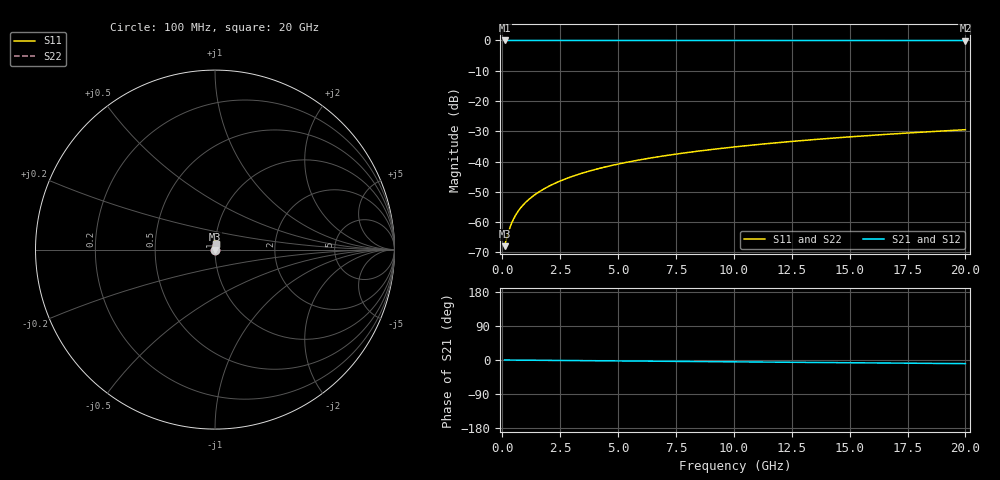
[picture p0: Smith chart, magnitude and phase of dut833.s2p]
! Touchstone file exported from HFSS 2026.1.0
!  File:  C:/ffzhzh/LocalFiles/Ansys_Project_Files/temp_train_TSV_833_1783184748_55132.aedt
!  Generated:  01:07:22 AM Jul  5, 2026
!  Design:  TSV
!  Project:  temp_train_TSV_833_1783184748_55132
! Variables:
!  h_bsmrdl = 2um
!  h_ox = 20um
!  h_rdl = 5um
!  h_sub = 98.82um
!  h_tmrdl = 5um
!  h_tsv = 98.82um
!  h_via = 3um
!  l_bsmrdl = 300um
!  l_sub = 412.36um
!  l_tmrdl = 200um
!  m_sub = 200um
!  pitch = 33.07um
!  r_tsv = 6.18um
!  s_tmrdl = 10um
!  w_bsmrdl = 18um
!  w_sub = 500um
!  w_tmrdl = 12um
!  x_tsv_center1 = 206um
!  x_tsv_center2 = 524um
!  x_tsv_center3 = 736um
!  x_tsv_center4 = 1054um
!  x_tsv_center5 = 1266um
!  x_tsv_center6 = 1584um
# GHz S MA R 50.000000
! Terminal data exported
! Port[1] = TSV1_1_T1
! Port[2] = TSV1_1_T2
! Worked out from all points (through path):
!   200 points, 100 MHz to 20 GHz, reference 50 ohm
!   highest |S21| = 0.00 dB at 100 MHz (marker M1); lowest = 0.0 dB at 20 GHz (marker M2)
!   group delay of S21, straight-line fit = 1.33 ps
!   lowest |S11| = -67.9 dB at 100 MHz (marker M3), VSWR 1.00, Z = 50 + j0.0224 ohm
!   |S11| at or under -10 dB: start of sweep to end of sweep
!   |S22| runs from -67.9 to -29.5 dB; largest |S21 - S12| = 2.7e-15
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0.1  0.0004007 33.9  0.9997 -0.1  0.9997 -0.1  0.0004007 33.9
! Gamma 0 0 0 0
! Port Impedance 50 0 50 0
0.2  0.0005629 52.1  0.9997 -0.1  0.9997 -0.1  0.0005629 52.1
0.3  0.000755 61.0  0.9996 -0.2  0.9996 -0.2  0.000755 61.0
0.4  0.0009545 65.8  0.9996 -0.2  0.9996 -0.2  0.0009545 65.8
0.5  0.001154 68.7  0.9996 -0.3  0.9996 -0.3  0.001154 68.7
0.6  0.00135 70.6  0.9996 -0.3  0.9996 -0.3  0.00135 70.6
0.8  0.001732 72.9  0.9995 -0.4  0.9995 -0.4  0.001732 72.9
1.1  0.002285 75.1  0.9994 -0.5  0.9994 -0.5  0.002285 75.1
1.5  0.003003 76.9  0.9993 -0.7  0.9993 -0.7  0.003003 76.9
1.8  0.003537 77.9  0.9993 -0.9  0.9993 -0.9  0.003537 77.9
2.1  0.004068 78.6  0.9992 -1.0  0.9992 -1.0  0.004068 78.6
2.7  0.005125 79.5  0.9992 -1.3  0.9992 -1.3  0.005125 79.5
3.5  0.00652 80.1  0.999 -1.7  0.999 -1.7  0.00652 80.1
4.2  0.007727 80.4  0.9989 -2.0  0.9989 -2.0  0.007727 80.4
5  0.00909 80.5  0.9988 -2.4  0.9988 -2.4  0.00909 80.5
5.9  0.01061 80.5  0.9987 -2.9  0.9987 -2.9  0.01061 80.5
6.8  0.01211 80.5  0.9986 -3.3  0.9986 -3.3  0.01211 80.5
8.3  0.0146 80.3  0.9984 -4.0  0.9984 -4.0  0.0146 80.3
10.1  0.01757 79.9  0.9982 -4.9  0.9982 -4.9  0.01757 79.9
13.4  0.02297 79.0  0.9979 -6.5  0.9979 -6.5  0.02297 79.0
16.7  0.02831 77.8  0.9976 -8.0  0.9976 -8.0  0.02831 77.8
20  0.03358 76.6  0.9972 -9.6  0.9972 -9.6  0.03358 76.6
